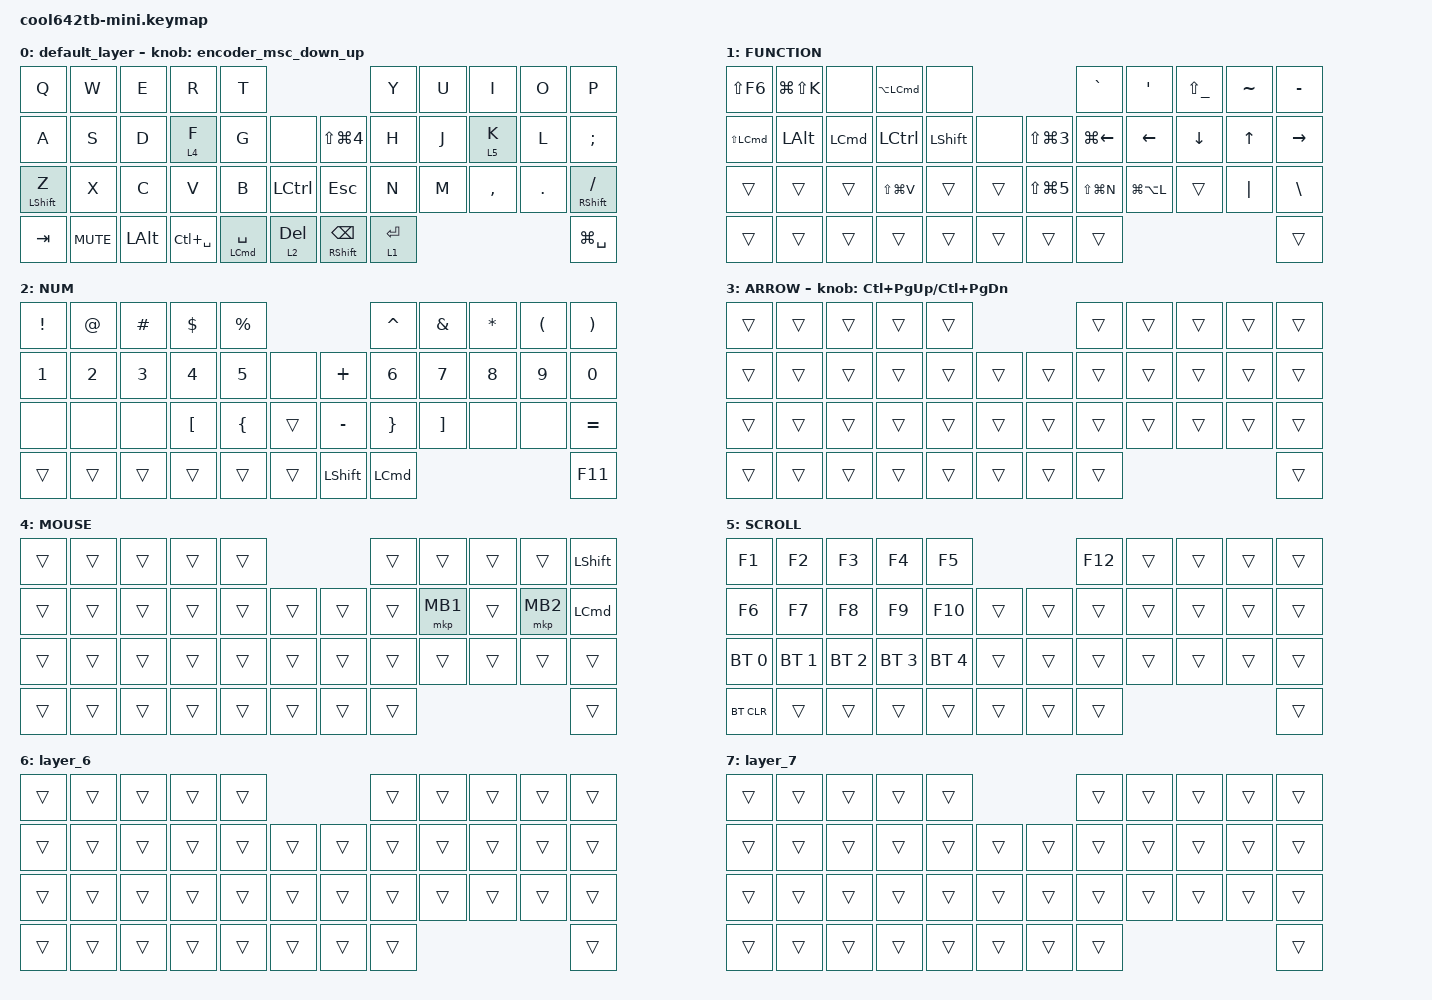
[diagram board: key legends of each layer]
#include <behaviors.dtsi>
#include <dt-bindings/zmk/bt.h>
#include <dt-bindings/zmk/keys.h>
#include <dt-bindings/zmk/pointing.h>

#define MOUSE 4
#define SCROLL 5
#define NUM 6
#define ZMK_POINTING_DEFAULT_SCRL_VAL 80

&mt {
    flavor = "balanced";
    quick-tap-ms = <200>;
};

/ {
    combos {
        compatible = "zmk,combos";

        shift_tab {
            bindings = <&kp LANG2>;
            key-positions = <12 13>;
        };

        lang {
            bindings = <&kp LANG1>;
            key-positions = <18 19>;
        };
    };

    behaviors {
        encoder_msc_down_up: encoder_msc_down_up {
            compatible = "zmk,behavior-sensor-rotate";
            label = "ENCODER_MSC_DOWN_UP";
            #sensor-binding-cells = <0>;
            bindings = <&msc SCRL_UP>, <&msc SCRL_DOWN>;
            tap-ms = <20>;
        };
    };

    keymap {
        compatible = "zmk,keymap";

        default_layer {
            bindings = <
&kp Q             &kp W       &kp E         &kp R          &kp T                                                               &kp Y        &kp U  &kp I      &kp O    &kp P
&kp A             &kp S       &kp D         &lt 4 F        &kp G                   &none                 &kp LS(LG(NUMBER_4))  &kp H        &kp J  &lt 5 K    &kp L    &kp SEMICOLON
&mt LEFT_SHIFT Z  &kp X       &kp C         &kp V          &kp B                   &kp LEFT_CONTROL      &kp ESC               &kp N        &kp M  &kp COMMA  &kp DOT  &mt RIGHT_SHIFT SLASH
&kp TAB           &kp C_MUTE  &kp LEFT_ALT  &kp LC(SPACE)  &mt LEFT_COMMAND SPACE  &lt 2 DELETE          &mt RSHFT BACKSPACE   &lt 1 ENTER                             &kp LG(SPACE)
            >;

            sensor-bindings = <&encoder_msc_down_up>;
        };

        FUNCTION {
            bindings = <
&kp LS(F6)            &kp LG(LS(K))  &none             &kp LA(LEFT_COMMAND)  &none                                             &kp GRAVE           &kp SQT        &kp LS(UNDER)  &kp TILDE  &kp MINUS
&kp LS(LEFT_COMMAND)  &kp LEFT_ALT   &kp LEFT_COMMAND  &kp LEFT_CONTROL      &kp LEFT_SHIFT  &none       &kp LS(LG(NUMBER_3))  &kp LG(LEFT_ARROW)  &kp LEFT       &kp DOWN       &kp UP     &kp RIGHT
&trans                &trans         &trans            &kp LS(LG(V))         &trans          &trans      &kp LS(LG(NUMBER_5))  &kp LS(LG(N))       &kp LG(LA(L))  &trans         &kp PIPE   &kp BACKSLASH
&trans                &trans         &trans            &trans                &trans          &trans      &trans                &trans                                                       &trans
            >;
        };

        NUM {
            bindings = <
&kp EXCLAMATION  &kp AT_SIGN   &kp HASH      &kp DOLLAR        &kp PERCENT                                 &kp CARET         &kp AMPERSAND      &kp ASTERISK  &kp LEFT_PARENTHESIS  &kp RIGHT_PARENTHESIS
&kp NUMBER_1     &kp NUMBER_2  &kp NUMBER_3  &kp NUMBER_4      &kp NUMBER_5    &none       &kp PLUS        &kp NUMBER_6      &kp NUMBER_7       &kp NUMBER_8  &kp NUMBER_9          &kp NUMBER_0
&none            &none         &none         &kp LEFT_BRACKET  &kp LEFT_BRACE  &trans      &kp MINUS       &kp RIGHT_BRACE   &kp RIGHT_BRACKET  &none         &none                 &kp EQUAL
&trans           &trans        &trans        &trans            &trans          &trans      &kp LEFT_SHIFT  &kp LEFT_COMMAND                                                         &kp F11
            >;
        };

        ARROW {
            bindings = <
&trans  &trans  &trans  &trans  &trans                      &trans  &trans  &trans  &trans  &trans
&trans  &trans  &trans  &trans  &trans  &trans      &trans  &trans  &trans  &trans  &trans  &trans
&trans  &trans  &trans  &trans  &trans  &trans      &trans  &trans  &trans  &trans  &trans  &trans
&trans  &trans  &trans  &trans  &trans  &trans      &trans  &trans                          &trans
            >;

            sensor-bindings = <&inc_dec_kp LC(PAGE_UP) LC(PAGE_DOWN)>;
        };

        MOUSE {
            bindings = <
&trans  &trans  &trans  &trans  &trans                      &trans  &trans    &trans  &trans    &kp LEFT_SHIFT
&trans  &trans  &trans  &trans  &trans  &trans      &trans  &trans  &mkp MB1  &trans  &mkp MB2  &kp LEFT_COMMAND
&trans  &trans  &trans  &trans  &trans  &trans      &trans  &trans  &trans    &trans  &trans    &trans
&trans  &trans  &trans  &trans  &trans  &trans      &trans  &trans                              &trans
            >;
        };

        SCROLL {
            bindings = <
&kp F1        &kp F2        &kp F3        &kp F4        &kp F5                            &kp F12  &trans  &trans  &trans  &trans
&kp F6        &kp F7        &kp F8        &kp F9        &kp F10       &trans      &trans  &trans   &trans  &trans  &trans  &trans
&bt BT_SEL 0  &bt BT_SEL 1  &bt BT_SEL 2  &bt BT_SEL 3  &bt BT_SEL 4  &trans      &trans  &trans   &trans  &trans  &trans  &trans
&bt BT_CLR    &trans        &trans        &trans        &trans        &trans      &trans  &trans                           &trans
            >;
        };

        layer_6 {
            bindings = <
&trans  &trans  &trans  &trans  &trans                      &trans  &trans  &trans  &trans  &trans
&trans  &trans  &trans  &trans  &trans  &trans      &trans  &trans  &trans  &trans  &trans  &trans
&trans  &trans  &trans  &trans  &trans  &trans      &trans  &trans  &trans  &trans  &trans  &trans
&trans  &trans  &trans  &trans  &trans  &trans      &trans  &trans                          &trans
            >;
        };

        layer_7 {
            bindings = <
&trans  &trans  &trans  &trans  &trans                      &trans  &trans  &trans  &trans  &trans
&trans  &trans  &trans  &trans  &trans  &trans      &trans  &trans  &trans  &trans  &trans  &trans
&trans  &trans  &trans  &trans  &trans  &trans      &trans  &trans  &trans  &trans  &trans  &trans
&trans  &trans  &trans  &trans  &trans  &trans      &trans  &trans                          &trans
            >;
        };
    };
};
